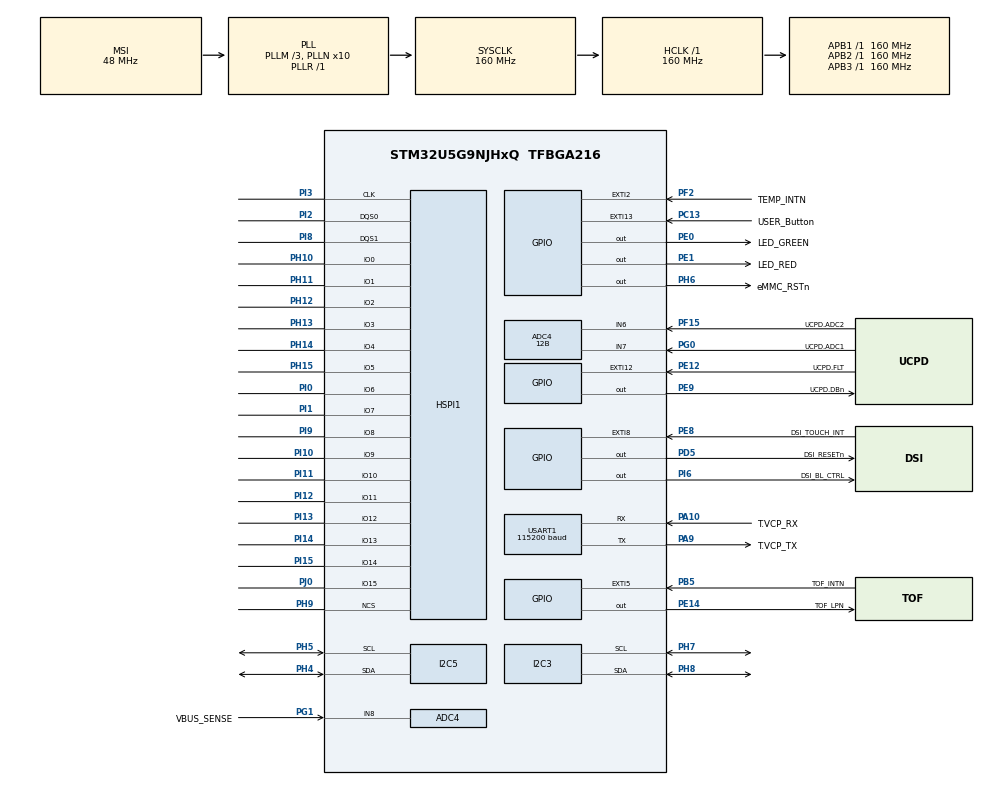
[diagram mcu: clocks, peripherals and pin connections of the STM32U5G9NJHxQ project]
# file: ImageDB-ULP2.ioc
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ADC4.Channel-0\#ChannelRegularConversion=ADC_CHANNEL_6
ADC4.Channel-IN6=ADC_CHANNEL_6
ADC4.Channel-IN7=ADC_CHANNEL_7
ADC4.Channel-IN8=ADC_CHANNEL_8
ADC4.ClockPrescaler=ADC_CLOCK_ASYNC_DIV1
ADC4.ContinuousConvMode=DISABLE
ADC4.DMAContinuousRequests=DISABLE
ADC4.DataAlign=ADC_DATAALIGN_RIGHT
ADC4.DiscontinuousConvMode=DISABLE
ADC4.EOCSelection=ADC_EOC_SINGLE_CONV
ADC4.EnableAnalogWatchDog1=false
ADC4.EnableAnalogWatchDog2=false
ADC4.EnableAnalogWatchDog3=false
ADC4.EnableRegularConversion=ENABLE
ADC4.ExternalTrigConv=ADC_SOFTWARE_START
ADC4.ExternalTrigConvEdge=ADC_EXTERNALTRIGCONVEDGE_NONE
ADC4.LowPowerAutoPowerOff=ADC_LOW_POWER_NONE
ADC4.LowPowerAutoWait=DISABLE
ADC4.Mode=ADC_MODE_INDEPENDENT
ADC4.NbrOfConversion=1
ADC4.OffsetNumber-0\#ChannelRegularConversion=ADC_OFFSET_NONE
ADC4.Overrun=ADC_OVR_DATA_PRESERVED
ADC4.OversamplingMode=DISABLE
ADC4.Rank-0\#ChannelRegularConversion=1
ADC4.Resolution=ADC_RESOLUTION_12B
ADC4.SamplingTime-0\#ChannelRegularConversion=ADC4_SAMPLINGTIME_COMMON_1
ADC4.SamplingTimeCommon1=ADC4_SAMPLETIME_1CYCLE_5
ADC4.SamplingTimeCommon2=ADC4_SAMPLETIME_1CYCLE_5
ADC4.ScanConvMode=ADC4_SCAN_DISABLE
ADC4.SelectedChannel=ADC_CHANNEL_6|ADC_CHANNEL_7|ADC_CHANNEL_8
ADC4.Sequencer=FULLY_CONFIGURABLE
ADC4.TriggerFrequencyMode=ADC_TRIGGER_FREQ_LOW
CORTEX_M33_NS.MPU_Control=__NULL
CORTEX_M33_NS.userName=CORTEX_M33
GPDMA1.DATAHANDLING_GPDMACH1=NONE
GPDMA1.DESTBURSTLENGTH_GPDMACH0=8
GPDMA1.DESTBURSTLENGTH_GPDMACH1=8
GPDMA1.DESTDATAWIDTH_GPDMACH0=DMA_DEST_DATAWIDTH_WORD
GPDMA1.DESTDATAWIDTH_GPDMACH1=DMA_DEST_DATAWIDTH_WORD
GPDMA1.DESTINC_GPDMACH0=DMA_DINC_FIXED
GPDMA1.DESTINC_GPDMACH1=DMA_DINC_INCREMENTED
GPDMA1.DIRECTION_GPDMACH0=DMA_MEMORY_TO_PERIPH
GPDMA1.IPHANDLE_GPDMACH0-SIMPLEREQUEST_GPDMACH0=__NULL
GPDMA1.IPHANDLE_GPDMACH1-SIMPLEREQUEST_GPDMACH1=__NULL
GPDMA1.PRIORITY_GPDMACH0=DMA_LOW_PRIORITY_HIGH_WEIGHT
GPDMA1.PRIORITY_GPDMACH1=DMA_LOW_PRIORITY_HIGH_WEIGHT
GPDMA1.REQUEST_GPDMACH0=GPDMA1_REQUEST_JPEG_RX
GPDMA1.REQUEST_GPDMACH1=GPDMA1_REQUEST_JPEG_TX
GPDMA1.SRCBURSTLENGTH_GPDMACH0=8
GPDMA1.SRCBURSTLENGTH_GPDMACH1=8
GPDMA1.SRCDATAWIDTH_GPDMACH0=DMA_SRC_DATAWIDTH_WORD
GPDMA1.SRCDATAWIDTH_GPDMACH1=DMA_SRC_DATAWIDTH_WORD
GPDMA1.SRCINC_GPDMACH0=DMA_SINC_INCREMENTED
GPDMA1.SRCINC_GPDMACH1=DMA_SINC_FIXED
GPDMA1.TRANSFERALLOCATEDPORTDEST_GPDMACH0=DMA_DEST_ALLOCATED_PORT1
GPDMA1.TRANSFERALLOCATEDPORTDEST_GPDMACH1=DMA_DEST_ALLOCATED_PORT1
GPDMA1.TRANSFERALLOCATEDPORTSRC_GPDMACH1=DMA_SRC_ALLOCATED_PORT0
HSPI1.ChipSelectBoundary=HAL_XSPI_BONDARYOF_NONE
HSPI1.ChipSelectHighTimeCycle=1
HSPI1.ClockMode=HAL_XSPI_CLOCK_MODE_0
HSPI1.ClockPrescaler=0
HSPI1.DelayHoldQuarterCycle=HAL_XSPI_DHQC_DISABLE
HSPI1.FifoThresholdByte=1
HSPI1.FreeRunningClock=HAL_XSPI_FREERUNCLK_DISABLE
HSPI1.MemoryMode=HAL_XSPI_SINGLE_MEM
HSPI1.MemorySize=HAL_XSPI_SIZE_16B
HSPI1.MemoryType=HAL_XSPI_MEMTYPE_MICRON
HSPI1.Refresh=0
HSPI1.SampleShifting=HAL_XSPI_SAMPLE_SHIFT_NONE
HSPI1.WrapSize=HAL_XSPI_WRAP_NOT_SUPPORTED
I2C3.AddressingMode=I2C_ADDRESSINGMODE_7BIT
I2C3.Analog_Filter=I2C_ANALOGFILTER_ENABLE
I2C3.AutonomousMode=AUTONOMOUS_MODE_DISABLE
I2C3.DualAddressMode=I2C_DUALADDRESS_DISABLE
I2C3.GeneralCallMode=I2C_GENERALCALL_DISABLE
I2C3.I2C_Coeff_DF=0
I2C3.I2C_Fall_Time=0
I2C3.I2C_Rise_Time=0
I2C3.NoStretchMode=I2C_NOSTRETCH_DISABLE
I2C3.OwnAddress=0
I2C3.Speed=100
I2C3.Timing=0x30909DEC
I2C5.AddressingMode=I2C_ADDRESSINGMODE_7BIT
I2C5.Analog_Filter=I2C_ANALOGFILTER_ENABLE
I2C5.AutonomousMode=AUTONOMOUS_MODE_DISABLE
I2C5.DualAddressMode=I2C_DUALADDRESS_DISABLE
I2C5.GeneralCallMode=I2C_GENERALCALL_DISABLE
I2C5.I2C_Coeff_DF=0
I2C5.I2C_Fall_Time=0
I2C5.I2C_Rise_Time=0
I2C5.NoStretchMode=I2C_NOSTRETCH_DISABLE
I2C5.OwnAddress=0
I2C5.Speed=100
I2C5.Timing=0x30909DEC
JPEG.USE_JPEG_DECODER=0
Mcu.Family=STM32U5
Mcu.Name=STM32U5G9NJHxQ
Mcu.Package=TFBGA216
NVIC.GPDMA1_Channel0_IRQn=true\:6\:0\:true\:false\:true\:true\:true\:true
NVIC.GPDMA1_Channel1_IRQn=true\:7\:0\:true\:false\:true\:false\:true\:true
NVIC.JPEG_IRQn=true\:8\:0\:true\:false\:true\:true\:true\:true
NVIC.PriorityGroup=NVIC_PRIORITYGROUP_4
NVIC.TIM3_IRQn=true\:0\:0\:false\:false\:true\:true\:true\:true
PA1.Signal=OCTOSPIM_P1_DQS
PA10.GPIO_Label=T.VCP_RX
PA10.Mode=Asynchronous
PA10.Signal=USART1_RX
PA12.Signal=USB_OTG_HS_DP
PA13\ (JTMS/SWDIO).Signal=DEBUG_JTMS-SWDIO
PA14\ (JTCK/SWCLK).Signal=DEBUG_JTCK-SWCLK
PA2.Signal=OCTOSPIM_P1_NCS
PA9.GPIO_Label=T.VCP_TX
PA9.Mode=Asynchronous
PA9.Signal=USART1_TX
PB3\ (JTDO/TRACESWO).Signal=DEBUG_JTDO-SWO
PB5.GPIO_Label=TOF_INTN
PB5.Signal=GPXTI5
PB8.Signal=SDMMC1_D4
PB9.Signal=SDMMC1_D5
PC0.Signal=OCTOSPIM_P1_IO7
PC1.Signal=OCTOSPIM_P1_IO4
PC10.Signal=SDMMC1_D2
PC11.Signal=SDMMC1_D3
PC12.Signal=SDMMC1_CK
PC13.GPIO_Label=USER_Button
PC13.Signal=GPXTI13
PC14-OSC32_IN\ (PC14).Mode=LSE-External-Oscillator
PC14-OSC32_IN\ (PC14).Signal=RCC_OSC32_IN
PC15-OSC32_OUT\ (PC15).Mode=LSE-External-Oscillator
PC15-OSC32_OUT\ (PC15).Signal=RCC_OSC32_OUT
PC2.Signal=OCTOSPIM_P1_IO5
PC3.Signal=OCTOSPIM_P1_IO6
PC6.Signal=SDMMC1_D6
PC7.Signal=SDMMC1_D7
PC8.Signal=SDMMC1_D0
PC9.Signal=SDMMC1_D1
PD2.Signal=SDMMC1_CMD
PD5.GPIO_Label=DSI_RESETn
PD5.Signal=GPIO_Output
PE0.GPIO_Label=LED_GREEN
PE0.Signal=GPIO_Output
PE1.GPIO_Label=LED_RED
PE1.Signal=GPIO_Output
PE12.GPIO_Label=UCPD.FLT
PE12.Signal=GPXTI12
PE14.GPIO_Label=TOF_LPN
PE14.Signal=GPIO_Output
PE8.GPIO_Label=DSI_TOUCH_INT
PE8.Signal=GPXTI8
PE9.GPIO_Label=UCPD.DBn
PE9.Signal=GPIO_Output
PF10.Signal=OCTOSPIM_P1_CLK
PF15.GPIO_Label=UCPD.ADC2
PF15.Mode=IN6
PF15.Signal=ADC4_IN6
PF2.GPIO_Label=TEMP_INTN
PF2.Signal=GPXTI2
PF6.Signal=OCTOSPIM_P1_IO3
PF7.Signal=OCTOSPIM_P1_IO2
PF8.Signal=OCTOSPIM_P1_IO0
PF9.Signal=OCTOSPIM_P1_IO1
PG0.GPIO_Label=UCPD.ADC1
PG0.Mode=IN7
PG0.Signal=ADC4_IN7
PG1.GPIO_Label=VBUS_SENSE
PG1.Mode=IN8
PG1.Signal=ADC4_IN8
PH0-OSC_IN\ (PH0).Mode=HSE-External-Oscillator
PH0-OSC_IN\ (PH0).Signal=RCC_OSC_IN
PH1-OSC_OUT\ (PH1).Mode=HSE-External-Oscillator
PH1-OSC_OUT\ (PH1).Signal=RCC_OSC_OUT
PH10.Mode=hexa_mode
PH10.Signal=HSPI1_IO0
PH11.Mode=hexa_mode
PH11.Signal=HSPI1_IO1
PH12.Mode=hexa_mode
PH12.Signal=HSPI1_IO2
PH13.Mode=hexa_mode
PH13.Signal=HSPI1_IO3
PH14.Mode=hexa_mode
PH14.Signal=HSPI1_IO4
PH15.Mode=hexa_mode
PH15.Signal=HSPI1_IO5
PH4.Mode=I2C
PH4.Signal=I2C5_SDA
PH5.Mode=I2C
PH5.Signal=I2C5_SCL
PH6.GPIO_Label=eMMC_RSTn
PH6.Signal=GPIO_Output
PH7.Mode=I2C
PH7.Signal=I2C3_SCL
PH8.Mode=I2C
PH8.Signal=I2C3_SDA
PH9.Mode=hexa_mode
PH9.Signal=HSPI1_NCS
PI0.Mode=hexa_mode
PI0.Signal=HSPI1_IO6
PI1.Mode=hexa_mode
PI1.Signal=HSPI1_IO7
PI10.Mode=hexa_mode
PI10.Signal=HSPI1_IO9
PI11.Mode=hexa_mode
PI11.Signal=HSPI1_IO10
PI12.Mode=hexa_mode
PI12.Signal=HSPI1_IO11
PI13.Mode=hexa_mode
PI13.Signal=HSPI1_IO12
PI14.Mode=hexa_mode
PI14.Signal=HSPI1_IO13
PI15.Mode=hexa_mode
PI15.Signal=HSPI1_IO14
PI2.Mode=hexa_mode
PI2.Signal=HSPI1_DQS0
PI3.Mode=hexa_mode
PI3.Signal=HSPI1_CLK
PI6.GPIO_Label=DSI_BL_CTRL
PI6.Signal=GPIO_Output
PI8.Mode=hexa_mode
PI8.Signal=HSPI1_DQS1
PI9.Mode=hexa_mode
PI9.Signal=HSPI1_IO8
PJ0.Mode=hexa_mode
PJ0.Signal=HSPI1_IO15
PWR.DMA2DPowerDownInStopMode=__NULL
PWR.DSIRAMPowerDownInStopMode=__NULL
PWR.Dcache1PowerDownInStopMode=__NULL
PWR.Dcache2PowerDownInStopMode=__NULL
PWR.GRAPHICPRAMPowerDownInStopMode=__NULL
PWR.IcachePowerDownInStopMode=__NULL
PWR.PeriphPowerDownInStopMode=__NULL
PWR.PowerMode=PWR_SMPS_SUPPLY
PWR.RAM1Page10PowerDownInStopMode=__NULL
PWR.RAM1Page11PowerDownInStopMode=__NULL
PWR.RAM1Page12PowerDownInStopMode=__NULL
PWR.RAM1Page1PowerDownInStopMode=__NULL
PWR.RAM1Page2PowerDownInStopMode=__NULL
PWR.RAM1Page3PowerDownInStopMode=__NULL
PWR.RAM1Page4PowerDownInStopMode=__NULL
PWR.RAM1Page5PowerDownInStopMode=__NULL
PWR.RAM1Page6PowerDownInStopMode=__NULL
PWR.RAM1Page7PowerDownInStopMode=__NULL
PWR.RAM1Page8PowerDownInStopMode=__NULL
PWR.RAM1Page9PowerDownInStopMode=__NULL
PWR.RAM2Page1PowerDownInStopMode=__NULL
PWR.RAM2Page2PowerDownInStopMode=__NULL
PWR.RAM3Page10PowerDownInStopMode=__NULL
PWR.RAM3Page11PowerDownInStopMode=__NULL
PWR.RAM3Page12PowerDownInStopMode=__NULL
PWR.RAM3Page13PowerDownInStopMode=__NULL
PWR.RAM3Page1PowerDownInStopMode=__NULL
PWR.RAM3Page2PowerDownInStopMode=__NULL
PWR.RAM3Page3PowerDownInStopMode=__NULL
PWR.RAM3Page4PowerDownInStopMode=__NULL
PWR.RAM3Page5PowerDownInStopMode=__NULL
PWR.RAM3Page6PowerDownInStopMode=__NULL
PWR.RAM3Page7PowerDownInStopMode=__NULL
PWR.RAM3Page8PowerDownInStopMode=__NULL
PWR.RAM3Page9PowerDownInStopMode=__NULL
PWR.RAM5Page10PowerDownInStopMode=__NULL
PWR.RAM5Page11PowerDownInStopMode=__NULL
PWR.RAM5Page12PowerDownInStopMode=__NULL
PWR.RAM5Page13PowerDownInStopMode=__NULL
PWR.RAM5Page1PowerDownInStopMode=__NULL
PWR.RAM5Page2PowerDownInStopMode=__NULL
PWR.RAM5Page3PowerDownInStopMode=__NULL
PWR.RAM5Page4PowerDownInStopMode=__NULL
PWR.RAM5Page5PowerDownInStopMode=__NULL
PWR.RAM5Page6PowerDownInStopMode=__NULL
PWR.RAM5Page7PowerDownInStopMode=__NULL
PWR.RAM5Page8PowerDownInStopMode=__NULL
PWR.RAM5Page9PowerDownInStopMode=__NULL
PWR.SRAM1PowerDownInRunMode=__NULL
PWR.SRAM2PowerDownInRunMode=__NULL
PWR.SRAM3PowerDownInRunMode=__NULL
PWR.SRAM4FastDownInRunMode=__NULL
PWR.SRAM4PowerDownInRunMode=__NULL
PWR.SRAM4PowerDownInStopMode=__NULL
PWR.SRAM5PowerDownInRunMode=__NULL
PWR.pwrPrivilege=PWR_PRIVILEGE_NO
ProjectManager.HeapSize=0x200
ProjectManager.StackSize=0x400
ProjectManager.TargetToolchain=STM32CubeIDE
RAMCFG.Instance-RAMCFG1_Activate=RAMCFG_SRAM1
RCC.ADCFreq_Value=16000000
RCC.AHBFreq_Value=160000000
RCC.APB1Freq_Value=160000000
RCC.APB1TimFreq_Value=160000000
RCC.APB2Freq_Value=160000000
RCC.APB2TimFreq_Value=160000000
RCC.APB3Freq_Value=160000000
RCC.CortexFreq_Value=160000000
RCC.EPOD_VALUE=48000000
RCC.HCLKFreq_Value=160000000
RCC.HSE_VALUE=16000000
RCC.HSI48_VALUE=48000000
RCC.HSI_VALUE=16000000
RCC.LSIDIV_VALUE=32000
RCC.MSIClockRange=RCC_MSIRANGE_0
RCC.MSI_VALUE=48000000
RCC.PLL1P=8
RCC.PLL1R=1
RCC.PLL2FRACN=0
RCC.PLL3FRACN=0
RCC.PLLFRACN=24576
RCC.PLLM=3
RCC.PLLN=7
RCC.PWR_Regulator_Voltage_Scale=PWR_REGULATOR_VOLTAGE_SCALE1
RCC.SYSCLKFreq_VALUE=160000000
RCC.SYSCLKSource=RCC_SYSCLKSOURCE_PLLCLK
RCC.VCOOutputFreq_Value=160000000
TIM2.Prescaler=499
TIM3.PeriodNoDither=50000
TIM3.Prescaler=8000
TIM4.Prescaler=1
USART1.AutoBaudRateEnableParam=UART_ADVFEATURE_AUTOBAUDRATE_DISABLE
USART1.AutonomousMode=AUTONOMOUS_MODE_DISABLE
USART1.BaudRate=115200
USART1.ClockPrescaler=PRESCALER_DIV1
USART1.DMADisableonRxErrorParam=ADVFEATURE_DMA_ENABLEONRXERROR
USART1.DataInvertParam=ADVFEATURE_DATAINV_DISABLE
USART1.FIFOMode=FIFOMODE_DISABLE
USART1.MSBFirstParam=ADVFEATURE_MSBFIRST_DISABLE
USART1.Mode=MODE_TX_RX
USART1.OneBitSampling=UART_ONE_BIT_SAMPLE_DISABLE
USART1.OverSampling=UART_OVERSAMPLING_16
USART1.OverrunDisableParam=ADVFEATURE_OVERRUN_ENABLE
USART1.Parity=PARITY_NONE
USART1.RXFIFOThreshold=RXFIFO_THRESHOLD_1EIGHTHFULL
USART1.RxPinLevelInvertParam=ADVFEATURE_RXINV_DISABLE
USART1.StopBits=STOPBITS_1
USART1.SwapParam=ADVFEATURE_SWAP_DISABLE
USART1.TXFIFOThreshold=TXFIFO_THRESHOLD_1EIGHTHFULL
USART1.TxPinLevelInvertParam=ADVFEATURE_TXINV_DISABLE
USART1.VirtualMode-Asynchronous=VM_ASYNC
USART1.WordLength=WORDLENGTH_8B
VP_DMA2D_VS_DMA2D.Mode=DMA2D_Activate
VP_GPDMA1_VS_GPDMACH0.Mode=SIMPLEREQUEST_GPDMACH0
VP_GPDMA1_VS_GPDMACH1.Mode=SIMPLEREQUEST_GPDMACH1
VP_ICACHE_VS_ICACHE.Mode=DirectMappedCache
VP_JPEG_VS_JPEG.Mode=JPEG_Activate
VP_LPBAMQUEUE_VS_QUEUE.Mode=QUEUEMODE
VP_LPBAM_VS_SIG1.Mode=SmartRun
VP_LPBAM_VS_SIG4.Mode=LPDMA1
VP_MEMORYMAP_VS_MEMORYMAP.Mode=CurAppReg
VP_PWR_VS_DBSignals.Mode=DisableDeadBatterySignals
VP_PWR_VS_LPOM.Mode=PowerOptimisation
VP_PWR_VS_SECSignals.Mode=Security/Privilege
VP_PWR_Vdda.Mode=isolationVdda
VP_RAMCFG_VS_RAMCFG1.Mode=RAMCFG1_Activate
VP_TIM2_VS_ClockSourceINT.Mode=Internal
VP_TIM3_VS_ClockSourceINT.Mode=Internal
VP_TIM4_VS_ClockSourceINT.Mode=Internal
board=STM32U5G9J-DK1

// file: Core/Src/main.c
/* USER CODE BEGIN Header */
/**
  ******************************************************************************
  * @file           : main.c
  * @brief          : Main program body
  ******************************************************************************
  * @attention
  *
  * Copyright (c) 2024 STMicroelectronics.
  * All rights reserved.
  *
  * This software is licensed under terms that can be found in the LICENSE file
  * in the root directory of this software component.
  * If no LICENSE file comes with this software, it is provided AS-IS.
  *
  ******************************************************************************
  */
/* USER CODE END Header */
#include "main.h"
#include "jpeg_utils_conf.h"

/* USER CODE BEGIN Includes */
#include <stdio.h>
#include <stm32u5xx_hal.h>
#include "vpp_image_generator.h"
#include "image_output.h"
#include "uart.h"
#include "xmodem.h"
#include "benchmark_accelerators.h"
#include "benchmark_from_uart.h"
#include <stdbool.h>
#include <stdlib.h>
/* USER CODE END Includes */

ADC_HandleTypeDef hadc4;

DMA2D_HandleTypeDef hdma2d;

XSPI_HandleTypeDef hxspi1;

I2C_HandleTypeDef hi2c3;
I2C_HandleTypeDef hi2c5;

JPEG_HandleTypeDef hjpeg;
DMA_HandleTypeDef handle_GPDMA1_Channel1;
DMA_HandleTypeDef handle_GPDMA1_Channel0;

RAMCFG_HandleTypeDef hramcfg_SRAM1;

TIM_HandleTypeDef htim2;
TIM_HandleTypeDef htim3;
TIM_HandleTypeDef htim4;

UART_HandleTypeDef huart1;

void SystemClock_Config(void);
static void SystemPower_Config(void);
static void MX_GPIO_Init(void);
static void MX_GPDMA1_Init(void);
static void MX_HSPI1_Init(void);
static void MX_I2C3_Init(void);
static void MX_I2C5_Init(void);
static void MX_ICACHE_Init(void);
static void MX_USART1_UART_Init(void);
static void MX_MEMORYMAP_Init(void);
static void MX_JPEG_Init(void);
static void MX_RAMCFG_Init(void);
static void MX_DMA2D_Init(void);
static void MX_ADC4_Init(void);
static void MX_TIM2_Init(void);
static void MX_TIM3_Init(void);
static void MX_TIM4_Init(void);

/* USER CODE BEGIN 0 */
int __io_putchar(int ch)
{
  /* Place your implementation of fputc here */
  /* e.g. write a character to the USART1 and Loop until the end of transmission */
  HAL_UART_Transmit(&huart1, (uint8_t *)&ch, 1, 0xFFFF);

  return ch;
}

int _write(int file, char *ptr, int len)
{
	int DataIdx;
	UNUSED(file);
	for (DataIdx = 0; DataIdx < len; DataIdx++)
	{
		__io_putchar(*ptr++);
	}
	return len;
}
/* USER CODE END 0 */

int main(void)
{

  /* MCU Configuration--------------------------------------------------------*/

  /* Reset of all peripherals, Initializes the Flash interface and the Systick. */
  HAL_Init();

  /* Configure the system clock */
  SystemClock_Config();

  /* Configure the System Power */
  SystemPower_Config();

  /* Initialize all configured peripherals */
  MX_GPIO_Init();
  MX_GPDMA1_Init();
  MX_HSPI1_Init();
  MX_I2C3_Init();
  MX_I2C5_Init();
  MX_ICACHE_Init();
  MX_USART1_UART_Init();
  MX_MEMORYMAP_Init();
  MX_JPEG_Init();
  MX_RAMCFG_Init();
  MX_DMA2D_Init();
  MX_ADC4_Init();
  MX_TIM2_Init();
  MX_TIM3_Init();
  MX_TIM4_Init();
  /* USER CODE BEGIN 2 */
  if (HAL_TIM_Base_Start_IT(&htim2) != HAL_OK)
  {
	  /* Starting Error */
	  printf("Error starting interrupt timer 2\n");
  }
  if (HAL_TIM_Base_Start_IT(&htim4) != HAL_OK)
    {
  	  /* Starting Error */
  	  printf("Error starting interrupt timer 2\n");
    }
  /* USER CODE END 2 */

  /* Infinite loop */
  /* USER CODE BEGIN WHILE */
  printf("Hello world\n");
  //	  uint8_t * image = generate_vpp_image(64, 64, 1, 0);
  //	  print_image_pixels_alpha(image, 64, 64);
  //printf("Test with printf\n");
  //uart_transmit_str((uint8_t*)"Send more image data.\n");

//  uint32_t heights[]={16,32,64,128,256};
//  uint32_t widths[]={64,64,64,64,64};

  while (1)
  {
//	  for(uint32_t i = 0; i < sizeof(heights) / sizeof(uint32_t); i++){
	  		//zeroBuffers(buffers);
	  		//benchmark_blended_quality_jpeg_size(widths[i], heights[i],1);
	  		//benchmark_jpeg_encode_accelerator_MDMA(5, 1000, heights[i], widths[i], 90);
	  		//benchmark_jpeg_encode_accelerator_CPU(5, 1000, heights[i], widths[i], 90);
	  		//benchmark_jpeg_decode_accelerator_MDMA(5, 1000, heights[i], widths[i], 90);
	  		//benchmark_blended_quality_jpeg_size();
//	  	}
	  BenchmarkSettings *settings = (BenchmarkSettings *)malloc(sizeof(BenchmarkSettings));
	  uint32_t quality[] = {5,10,25,50,75,80,90,95,100}; settings->quality = quality; settings->numQuality = sizeof(quality) / sizeof(uint32_t);
	  uint32_t imageHeight[] = {16,32,64,128,256}; settings->imageHeight = imageHeight;
	  uint32_t imageWidth[] = {64,64,64,64,64}; settings->imageWidth = imageWidth; settings->numSizes = sizeof(imageHeight) / sizeof(uint32_t);
	  //Making it ≈10MB
	  uint32_t numRepeatImage[] = {240,120, 60, 30, 15}; settings->numRepeatImage = numRepeatImage;
	  uint32_t numRepeatImageQuantization[] = {5,5,2,2,2}; settings->numRepeatImageQuantization = numRepeatImageQuantization;
	  uint32_t batchSize[] = {1024,2048,4096, 8192, 16384}; //settings->batchSize = batchSize;
	  uint32_t numIterations = 5; settings->numIterations = numIterations;
	  uint32_t amountVectors[]={2,4,8,16,32,64}; settings->amountVectors = amountVectors; settings->numAmountVectors = sizeof(amountVectors)/sizeof(uint32_t);
	  uint32_t minRGBVectorSize[]={0,5,10,20,40,80,160}; settings->minRGBVectorSize = minRGBVectorSize; settings->numMinRGBSizes = sizeof(minRGBVectorSize) / sizeof(uint32_t);
	  double outliers[]={0, 0.05, 0.1, 0.2}; settings->outliers = outliers;
	  bool timeQuantization = false; settings->timedQuantization = timeQuantization;

	  benchmark_from_uart(settings);
	  free(settings);
	  //benchmark_performance_JPEG_encode_CPU(imageHeight, imageWidth, numRepeatImage, sizeof(imageHeight) / sizeof(uint32_t), quality, sizeof(quality) / sizeof(uint32_t), numIterations, timeQuantization);
	  HAL_Delay(10000);
    /* USER CODE END WHILE */

  }
}

void SystemClock_Config(void)
{
  RCC_OscInitTypeDef RCC_OscInitStruct = {0};
  RCC_ClkInitTypeDef RCC_ClkInitStruct = {0};

  /** Configure the main internal regulator output voltage
  */
  if (HAL_PWREx_ControlVoltageScaling(PWR_REGULATOR_VOLTAGE_SCALE1) != HAL_OK)
  {
    Error_Handler();
  }

  /** Initializes the CPU, AHB and APB buses clocks
  */
  RCC_OscInitStruct.OscillatorType = RCC_OSCILLATORTYPE_HSI|RCC_OSCILLATORTYPE_MSI;
  RCC_OscInitStruct.HSIState = RCC_HSI_ON;
  RCC_OscInitStruct.HSICalibrationValue = RCC_HSICALIBRATION_DEFAULT;
  RCC_OscInitStruct.MSIState = RCC_MSI_ON;
  RCC_OscInitStruct.MSICalibrationValue = RCC_MSICALIBRATION_DEFAULT;
  RCC_OscInitStruct.MSIClockRange = RCC_MSIRANGE_0;
  RCC_OscInitStruct.PLL.PLLState = RCC_PLL_ON;
  RCC_OscInitStruct.PLL.PLLSource = RCC_PLLSOURCE_MSI;
  RCC_OscInitStruct.PLL.PLLMBOOST = RCC_PLLMBOOST_DIV4;
  RCC_OscInitStruct.PLL.PLLM = 3;
  RCC_OscInitStruct.PLL.PLLN = 7;
  RCC_OscInitStruct.PLL.PLLP = 8;
  RCC_OscInitStruct.PLL.PLLQ = 2;
  RCC_OscInitStruct.PLL.PLLR = 1;
  RCC_OscInitStruct.PLL.PLLRGE = RCC_PLLVCIRANGE_1;
  RCC_OscInitStruct.PLL.PLLFRACN = 24576;
  if (HAL_RCC_OscConfig(&RCC_OscInitStruct) != HAL_OK)
  {
    Error_Handler();
  }

  /** Initializes the CPU, AHB and APB buses clocks
  */
  RCC_ClkInitStruct.ClockType = RCC_CLOCKTYPE_HCLK|RCC_CLOCKTYPE_SYSCLK
                              |RCC_CLOCKTYPE_PCLK1|RCC_CLOCKTYPE_PCLK2
                              |RCC_CLOCKTYPE_PCLK3;
  RCC_ClkInitStruct.SYSCLKSource = RCC_SYSCLKSOURCE_PLLCLK;
  RCC_ClkInitStruct.AHBCLKDivider = RCC_SYSCLK_DIV1;
  RCC_ClkInitStruct.APB1CLKDivider = RCC_HCLK_DIV1;
  RCC_ClkInitStruct.APB2CLKDivider = RCC_HCLK_DIV1;
  RCC_ClkInitStruct.APB3CLKDivider = RCC_HCLK_DIV1;

  if (HAL_RCC_ClockConfig(&RCC_ClkInitStruct, FLASH_LATENCY_4) != HAL_OK)
  {
    Error_Handler();
  }
}

/**
  * @brief Power Configuration
  * @retval None
  */
static void SystemPower_Config(void)
{

  /*
   * Disable the internal Pull-Up in Dead Battery pins of UCPD peripheral
   */
  HAL_PWREx_DisableUCPDDeadBattery();

  /*
   * Switch to SMPS regulator instead of LDO
   */
  if (HAL_PWREx_ConfigSupply(PWR_SMPS_SUPPLY) != HAL_OK)
  {
    Error_Handler();
  }
}

static void MX_ADC4_Init(void)
{

  ADC_ChannelConfTypeDef sConfig = {0};

  /** Common config
  */
  hadc4.Instance = ADC4;
  hadc4.Init.ClockPrescaler = ADC_CLOCK_ASYNC_DIV1;
  hadc4.Init.Resolution = ADC_RESOLUTION_12B;
  hadc4.Init.DataAlign = ADC_DATAALIGN_RIGHT;
  hadc4.Init.ScanConvMode = ADC4_SCAN_DISABLE;
  hadc4.Init.EOCSelection = ADC_EOC_SINGLE_CONV;
  hadc4.Init.LowPowerAutoPowerOff = ADC_LOW_POWER_NONE;
  hadc4.Init.LowPowerAutoWait = DISABLE;
  hadc4.Init.ContinuousConvMode = DISABLE;
  hadc4.Init.NbrOfConversion = 1;
  hadc4.Init.DiscontinuousConvMode = DISABLE;
  hadc4.Init.ExternalTrigConv = ADC_SOFTWARE_START;
  hadc4.Init.ExternalTrigConvEdge = ADC_EXTERNALTRIGCONVEDGE_NONE;
  hadc4.Init.DMAContinuousRequests = DISABLE;
  hadc4.Init.TriggerFrequencyMode = ADC_TRIGGER_FREQ_LOW;
  hadc4.Init.Overrun = ADC_OVR_DATA_PRESERVED;
  hadc4.Init.SamplingTimeCommon1 = ADC4_SAMPLETIME_1CYCLE_5;
  hadc4.Init.SamplingTimeCommon2 = ADC4_SAMPLETIME_1CYCLE_5;
  hadc4.Init.OversamplingMode = DISABLE;
  if (HAL_ADC_Init(&hadc4) != HAL_OK)
  {
    Error_Handler();
  }

  /** Configure Regular Channel
  */
  sConfig.Channel = ADC_CHANNEL_6;
  sConfig.Rank = ADC_REGULAR_RANK_1;
  sConfig.SamplingTime = ADC4_SAMPLINGTIME_COMMON_1;
  sConfig.OffsetNumber = ADC_OFFSET_NONE;
  sConfig.Offset = 0;
  if (HAL_ADC_ConfigChannel(&hadc4, &sConfig) != HAL_OK)
  {
    Error_Handler();
  }

}

static void MX_DMA2D_Init(void)
{

  hdma2d.Instance = DMA2D;
  hdma2d.Init.Mode = DMA2D_M2M;
  hdma2d.Init.ColorMode = DMA2D_OUTPUT_ARGB8888;
  hdma2d.Init.OutputOffset = 0;
  hdma2d.Init.BytesSwap = DMA2D_BYTES_REGULAR;
  hdma2d.Init.LineOffsetMode = DMA2D_LOM_PIXELS;
  hdma2d.LayerCfg[1].InputOffset = 0;
  hdma2d.LayerCfg[1].InputColorMode = DMA2D_INPUT_ARGB8888;
  hdma2d.LayerCfg[1].AlphaMode = DMA2D_NO_MODIF_ALPHA;
  hdma2d.LayerCfg[1].InputAlpha = 0;
  hdma2d.LayerCfg[1].AlphaInverted = DMA2D_REGULAR_ALPHA;
  hdma2d.LayerCfg[1].RedBlueSwap = DMA2D_RB_REGULAR;
  if (HAL_DMA2D_Init(&hdma2d) != HAL_OK)
  {
    Error_Handler();
  }
  if (HAL_DMA2D_ConfigLayer(&hdma2d, 1) != HAL_OK)
  {
    Error_Handler();
  }

}

static void MX_GPDMA1_Init(void)
{

  /* Peripheral clock enable */
  __HAL_RCC_GPDMA1_CLK_ENABLE();

  /* GPDMA1 interrupt Init */
    HAL_NVIC_SetPriority(GPDMA1_Channel0_IRQn, 6, 0);
    HAL_NVIC_EnableIRQ(GPDMA1_Channel0_IRQn);
    HAL_NVIC_SetPriority(GPDMA1_Channel1_IRQn, 7, 0);
    HAL_NVIC_EnableIRQ(GPDMA1_Channel1_IRQn);

}

static void MX_HSPI1_Init(void)
{

  /* HSPI1 parameter configuration*/
  hxspi1.Instance = HSPI1;
  hxspi1.Init.FifoThresholdByte = 1;
  hxspi1.Init.MemoryMode = HAL_XSPI_SINGLE_MEM;
  hxspi1.Init.MemoryType = HAL_XSPI_MEMTYPE_MICRON;
  hxspi1.Init.MemorySize = HAL_XSPI_SIZE_16B;
  hxspi1.Init.ChipSelectHighTimeCycle = 1;
  hxspi1.Init.FreeRunningClock = HAL_XSPI_FREERUNCLK_DISABLE;
  hxspi1.Init.ClockMode = HAL_XSPI_CLOCK_MODE_0;
  hxspi1.Init.WrapSize = HAL_XSPI_WRAP_NOT_SUPPORTED;
  hxspi1.Init.ClockPrescaler = 0;
  hxspi1.Init.SampleShifting = HAL_XSPI_SAMPLE_SHIFT_NONE;
  hxspi1.Init.DelayHoldQuarterCycle = HAL_XSPI_DHQC_DISABLE;
  hxspi1.Init.ChipSelectBoundary = HAL_XSPI_BONDARYOF_NONE;
  hxspi1.Init.MaxTran = 0;
  hxspi1.Init.Refresh = 0;
  if (HAL_XSPI_Init(&hxspi1) != HAL_OK)
  {
    Error_Handler();
  }

}

static void MX_I2C3_Init(void)
{

  hi2c3.Instance = I2C3;
  hi2c3.Init.Timing = 0x30909DEC;
  hi2c3.Init.OwnAddress1 = 0;
  hi2c3.Init.AddressingMode = I2C_ADDRESSINGMODE_7BIT;
  hi2c3.Init.DualAddressMode = I2C_DUALADDRESS_DISABLE;
  hi2c3.Init.OwnAddress2 = 0;
  hi2c3.Init.OwnAddress2Masks = I2C_OA2_NOMASK;
  hi2c3.Init.GeneralCallMode = I2C_GENERALCALL_DISABLE;
  hi2c3.Init.NoStretchMode = I2C_NOSTRETCH_DISABLE;
  if (HAL_I2C_Init(&hi2c3) != HAL_OK)
  {
    Error_Handler();
  }

  /** Configure Analogue filter
  */
  if (HAL_I2CEx_ConfigAnalogFilter(&hi2c3, I2C_ANALOGFILTER_ENABLE) != HAL_OK)
  {
    Error_Handler();
  }

  /** Configure Digital filter
  */
  if (HAL_I2CEx_ConfigDigitalFilter(&hi2c3, 0) != HAL_OK)
  {
    Error_Handler();
  }

}

static void MX_I2C5_Init(void)
{

  hi2c5.Instance = I2C5;
  hi2c5.Init.Timing = 0x30909DEC;
  hi2c5.Init.OwnAddress1 = 0;
  hi2c5.Init.AddressingMode = I2C_ADDRESSINGMODE_7BIT;
  hi2c5.Init.DualAddressMode = I2C_DUALADDRESS_DISABLE;
  hi2c5.Init.OwnAddress2 = 0;
  hi2c5.Init.OwnAddress2Masks = I2C_OA2_NOMASK;
  hi2c5.Init.GeneralCallMode = I2C_GENERALCALL_DISABLE;
  hi2c5.Init.NoStretchMode = I2C_NOSTRETCH_DISABLE;
  if (HAL_I2C_Init(&hi2c5) != HAL_OK)
  {
    Error_Handler();
  }

  /** Configure Analogue filter
  */
  if (HAL_I2CEx_ConfigAnalogFilter(&hi2c5, I2C_ANALOGFILTER_ENABLE) != HAL_OK)
  {
    Error_Handler();
  }

  /** Configure Digital filter
  */
  if (HAL_I2CEx_ConfigDigitalFilter(&hi2c5, 0) != HAL_OK)
  {
    Error_Handler();
  }

}

static void MX_ICACHE_Init(void)
{

  /** Enable instruction cache in 1-way (direct mapped cache)
  */
  if (HAL_ICACHE_ConfigAssociativityMode(ICACHE_1WAY) != HAL_OK)
  {
    Error_Handler();
  }
  if (HAL_ICACHE_Enable() != HAL_OK)
  {
    Error_Handler();
  }

}

static void MX_JPEG_Init(void)
{

  hjpeg.Instance = JPEG;
  if (HAL_JPEG_Init(&hjpeg) != HAL_OK)
  {
    Error_Handler();
  }

}

static void MX_MEMORYMAP_Init(void)
{

}

static void MX_RAMCFG_Init(void)
{

  /** Initialize RAMCFG SRAM1
  */
  hramcfg_SRAM1.Instance = RAMCFG_SRAM1;
  if (HAL_RAMCFG_Init(&hramcfg_SRAM1) != HAL_OK)
  {
    Error_Handler();
  }

}

static void MX_TIM2_Init(void)
{

  TIM_ClockConfigTypeDef sClockSourceConfig = {0};
  TIM_MasterConfigTypeDef sMasterConfig = {0};

  htim2.Instance = TIM2;
  htim2.Init.Prescaler = 499;
  htim2.Init.CounterMode = TIM_COUNTERMODE_UP;
  htim2.Init.Period = 4.294967295E9;
  htim2.Init.ClockDivision = TIM_CLOCKDIVISION_DIV1;
  htim2.Init.AutoReloadPreload = TIM_AUTORELOAD_PRELOAD_DISABLE;
  if (HAL_TIM_Base_Init(&htim2) != HAL_OK)
  {
    Error_Handler();
  }
  sClockSourceConfig.ClockSource = TIM_CLOCKSOURCE_INTERNAL;
  if (HAL_TIM_ConfigClockSource(&htim2, &sClockSourceConfig) != HAL_OK)
  {
    Error_Handler();
  }
  sMasterConfig.MasterOutputTrigger = TIM_TRGO_RESET;
  sMasterConfig.MasterSlaveMode = TIM_MASTERSLAVEMODE_DISABLE;
  if (HAL_TIMEx_MasterConfigSynchronization(&htim2, &sMasterConfig) != HAL_OK)
  {
    Error_Handler();
  }

}

static void MX_TIM3_Init(void)
{

  TIM_ClockConfigTypeDef sClockSourceConfig = {0};
  TIM_MasterConfigTypeDef sMasterConfig = {0};

  htim3.Instance = TIM3;
  htim3.Init.Prescaler = 8000;
  htim3.Init.CounterMode = TIM_COUNTERMODE_UP;
  htim3.Init.Period = 50000;
  htim3.Init.ClockDivision = TIM_CLOCKDIVISION_DIV1;
  htim3.Init.AutoReloadPreload = TIM_AUTORELOAD_PRELOAD_DISABLE;
  if (HAL_TIM_Base_Init(&htim3) != HAL_OK)
  {
    Error_Handler();
  }
  sClockSourceConfig.ClockSource = TIM_CLOCKSOURCE_INTERNAL;
  if (HAL_TIM_ConfigClockSource(&htim3, &sClockSourceConfig) != HAL_OK)
  {
    Error_Handler();
  }
  sMasterConfig.MasterOutputTrigger = TIM_TRGO_RESET;
  sMasterConfig.MasterSlaveMode = TIM_MASTERSLAVEMODE_DISABLE;
  if (HAL_TIMEx_MasterConfigSynchronization(&htim3, &sMasterConfig) != HAL_OK)
  {
    Error_Handler();
  }

}

static void MX_TIM4_Init(void)
{

  TIM_ClockConfigTypeDef sClockSourceConfig = {0};
  TIM_MasterConfigTypeDef sMasterConfig = {0};

  htim4.Instance = TIM4;
  htim4.Init.Prescaler = 1;
  htim4.Init.CounterMode = TIM_COUNTERMODE_UP;
  htim4.Init.Period = 4.294967295E9;
  htim4.Init.ClockDivision = TIM_CLOCKDIVISION_DIV1;
  htim4.Init.AutoReloadPreload = TIM_AUTORELOAD_PRELOAD_DISABLE;
  if (HAL_TIM_Base_Init(&htim4) != HAL_OK)
  {
    Error_Handler();
  }
  sClockSourceConfig.ClockSource = TIM_CLOCKSOURCE_INTERNAL;
  if (HAL_TIM_ConfigClockSource(&htim4, &sClockSourceConfig) != HAL_OK)
  {
    Error_Handler();
  }
  sMasterConfig.MasterOutputTrigger = TIM_TRGO_RESET;
  sMasterConfig.MasterSlaveMode = TIM_MASTERSLAVEMODE_DISABLE;
  if (HAL_TIMEx_MasterConfigSynchronization(&htim4, &sMasterConfig) != HAL_OK)
  {
    Error_Handler();
  }

}

static void MX_USART1_UART_Init(void)
{

  huart1.Instance = USART1;
  huart1.Init.BaudRate = 115200;
  huart1.Init.WordLength = UART_WORDLENGTH_8B;
  huart1.Init.StopBits = UART_STOPBITS_1;
  huart1.Init.Parity = UART_PARITY_NONE;
  huart1.Init.Mode = UART_MODE_TX_RX;
  huart1.Init.HwFlowCtl = UART_HWCONTROL_NONE;
  huart1.Init.OverSampling = UART_OVERSAMPLING_16;
  huart1.Init.OneBitSampling = UART_ONE_BIT_SAMPLE_DISABLE;
  huart1.Init.ClockPrescaler = UART_PRESCALER_DIV1;
  huart1.AdvancedInit.AdvFeatureInit = UART_ADVFEATURE_NO_INIT;
  if (HAL_UART_Init(&huart1) != HAL_OK)
  {
    Error_Handler();
  }
  if (HAL_UARTEx_SetTxFifoThreshold(&huart1, UART_TXFIFO_THRESHOLD_1_8) != HAL_OK)
  {
    Error_Handler();
  }
  if (HAL_UARTEx_SetRxFifoThreshold(&huart1, UART_RXFIFO_THRESHOLD_1_8) != HAL_OK)
  {
    Error_Handler();
  }
  if (HAL_UARTEx_DisableFifoMode(&huart1) != HAL_OK)
  {
    Error_Handler();
  }

}

static void MX_GPIO_Init(void)
{
  GPIO_InitTypeDef GPIO_InitStruct = {0};

  /* GPIO Ports Clock Enable */
  __HAL_RCC_GPIOE_CLK_ENABLE();
  __HAL_RCC_GPIOC_CLK_ENABLE();
  __HAL_RCC_GPIOA_CLK_ENABLE();
  __HAL_RCC_GPIOB_CLK_ENABLE();
  __HAL_RCC_GPIOD_CLK_ENABLE();
  __HAL_RCC_GPIOH_CLK_ENABLE();
  __HAL_RCC_GPIOI_CLK_ENABLE();
  __HAL_RCC_GPIOJ_CLK_ENABLE();
  __HAL_RCC_GPIOF_CLK_ENABLE();
  __HAL_RCC_GPIOG_CLK_ENABLE();

  /*Configure GPIO pin Output Level */
  HAL_GPIO_WritePin(GPIOE, LED_GREEN_Pin|LED_RED_Pin|UCPD_DBn_Pin|TOF_LPN_Pin, GPIO_PIN_RESET);

  /*Configure GPIO pin Output Level */
  HAL_GPIO_WritePin(DSI_RESETn_GPIO_Port, DSI_RESETn_Pin, GPIO_PIN_RESET);

  /*Configure GPIO pin Output Level */
  HAL_GPIO_WritePin(eMMC_RSTn_GPIO_Port, eMMC_RSTn_Pin, GPIO_PIN_RESET);

  /*Configure GPIO pin Output Level */
  HAL_GPIO_WritePin(DSI_BL_CTRL_GPIO_Port, DSI_BL_CTRL_Pin, GPIO_PIN_RESET);

  /*Configure GPIO pins : LED_GREEN_Pin LED_RED_Pin UCPD_DBn_Pin TOF_LPN_Pin */
  GPIO_InitStruct.Pin = LED_GREEN_Pin|LED_RED_Pin|UCPD_DBn_Pin|TOF_LPN_Pin;
  GPIO_InitStruct.Mode = GPIO_MODE_OUTPUT_PP;
  GPIO_InitStruct.Pull = GPIO_NOPULL;
  GPIO_InitStruct.Speed = GPIO_SPEED_FREQ_LOW;
  HAL_GPIO_Init(GPIOE, &GPIO_InitStruct);

  /*Configure GPIO pins : PC10 PC8 PC11 PC7
                           PC12 PC9 PC6 */
  GPIO_InitStruct.Pin = GPIO_PIN_10|GPIO_PIN_8|GPIO_PIN_11|GPIO_PIN_7
                          |GPIO_PIN_12|GPIO_PIN_9|GPIO_PIN_6;
  GPIO_InitStruct.Mode = GPIO_MODE_AF_PP;
  GPIO_InitStruct.Pull = GPIO_NOPULL;
  GPIO_InitStruct.Speed = GPIO_SPEED_FREQ_HIGH;
  GPIO_InitStruct.Alternate = GPIO_AF12_SDMMC1;
  HAL_GPIO_Init(GPIOC, &GPIO_InitStruct);

  /*Configure GPIO pin : TOF_INTN_Pin */
  GPIO_InitStruct.Pin = TOF_INTN_Pin;
  GPIO_InitStruct.Mode = GPIO_MODE_IT_RISING;
  GPIO_InitStruct.Pull = GPIO_NOPULL;
  HAL_GPIO_Init(TOF_INTN_GPIO_Port, &GPIO_InitStruct);

  /*Configure GPIO pin : DSI_RESETn_Pin */
  GPIO_InitStruct.Pin = DSI_RESETn_Pin;
  GPIO_InitStruct.Mode = GPIO_MODE_OUTPUT_PP;
  GPIO_InitStruct.Pull = GPIO_NOPULL;
  GPIO_InitStruct.Speed = GPIO_SPEED_FREQ_LOW;
  HAL_GPIO_Init(DSI_RESETn_GPIO_Port, &GPIO_InitStruct);

  /*Configure GPIO pin : PD2 */
  GPIO_InitStruct.Pin = GPIO_PIN_2;
  GPIO_InitStruct.Mode = GPIO_MODE_AF_PP;
  GPIO_InitStruct.Pull = GPIO_NOPULL;
  GPIO_InitStruct.Speed = GPIO_SPEED_FREQ_HIGH;
  GPIO_InitStruct.Alternate = GPIO_AF12_SDMMC1;
  HAL_GPIO_Init(GPIOD, &GPIO_InitStruct);

  /*Configure GPIO pin : PA12 */
  GPIO_InitStruct.Pin = GPIO_PIN_12;
  GPIO_InitStruct.Mode = GPIO_MODE_AF_PP;
  GPIO_InitStruct.Pull = GPIO_NOPULL;
  GPIO_InitStruct.Speed = GPIO_SPEED_FREQ_LOW;
  HAL_GPIO_Init(GPIOA, &GPIO_InitStruct);

  /*Configure GPIO pins : PB9 PB8 */
  GPIO_InitStruct.Pin = GPIO_PIN_9|GPIO_PIN_8;
  GPIO_InitStruct.Mode = GPIO_MODE_AF_PP;
  GPIO_InitStruct.Pull = GPIO_NOPULL;
  GPIO_InitStruct.Speed = GPIO_SPEED_FREQ_HIGH;
  GPIO_InitStruct.Alternate = GPIO_AF12_SDMMC1;
  HAL_GPIO_Init(GPIOB, &GPIO_InitStruct);

  /*Configure GPIO pin : eMMC_RSTn_Pin */
  GPIO_InitStruct.Pin = eMMC_RSTn_Pin;
  GPIO_InitStruct.Mode = GPIO_MODE_OUTPUT_PP;
  GPIO_InitStruct.Pull = GPIO_NOPULL;
  GPIO_InitStruct.Speed = GPIO_SPEED_FREQ_LOW;
  HAL_GPIO_Init(eMMC_RSTn_GPIO_Port, &GPIO_InitStruct);

  /*Configure GPIO pin : DSI_BL_CTRL_Pin */
  GPIO_InitStruct.Pin = DSI_BL_CTRL_Pin;
  GPIO_InitStruct.Mode = GPIO_MODE_OUTPUT_PP;
  GPIO_InitStruct.Pull = GPIO_NOPULL;
  GPIO_InitStruct.Speed = GPIO_SPEED_FREQ_LOW;
  HAL_GPIO_Init(DSI_BL_CTRL_GPIO_Port, &GPIO_InitStruct);

  /*Configure GPIO pin : USER_Button_Pin */
  GPIO_InitStruct.Pin = USER_Button_Pin;
  GPIO_InitStruct.Mode = GPIO_MODE_IT_RISING;
  GPIO_InitStruct.Pull = GPIO_NOPULL;
  HAL_GPIO_Init(USER_Button_GPIO_Port, &GPIO_InitStruct);

  /*Configure GPIO pin : TEMP_INTN_Pin */
  GPIO_InitStruct.Pin = TEMP_INTN_Pin;
  GPIO_InitStruct.Mode = GPIO_MODE_IT_RISING;
  GPIO_InitStruct.Pull = GPIO_NOPULL;
  HAL_GPIO_Init(TEMP_INTN_GPIO_Port, &GPIO_InitStruct);

  /*Configure GPIO pin : PF10 */
  GPIO_InitStruct.Pin = GPIO_PIN_10;
  GPIO_InitStruct.Mode = GPIO_MODE_AF_PP;
  GPIO_InitStruct.Pull = GPIO_NOPULL;
  GPIO_InitStruct.Speed = GPIO_SPEED_FREQ_VERY_HIGH;
  GPIO_InitStruct.Alternate = GPIO_AF3_OCTOSPI1;
  HAL_GPIO_Init(GPIOF, &GPIO_InitStruct);

  /*Configure GPIO pins : PF7 PF9 PF6 PF8 */
  GPIO_InitStruct.Pin = GPIO_PIN_7|GPIO_PIN_9|GPIO_PIN_6|GPIO_PIN_8;
  GPIO_InitStruct.Mode = GPIO_MODE_AF_PP;
  GPIO_InitStruct.Pull = GPIO_NOPULL;
  GPIO_InitStruct.Speed = GPIO_SPEED_FREQ_VERY_HIGH;
  GPIO_InitStruct.Alternate = GPIO_AF10_OCTOSPI1;
  HAL_GPIO_Init(GPIOF, &GPIO_InitStruct);

  /*Configure GPIO pins : PC1 PC3 PC2 */
  GPIO_InitStruct.Pin = GPIO_PIN_1|GPIO_PIN_3|GPIO_PIN_2;
  GPIO_InitStruct.Mode = GPIO_MODE_AF_PP;
  GPIO_InitStruct.Pull = GPIO_NOPULL;
  GPIO_InitStruct.Speed = GPIO_SPEED_FREQ_VERY_HIGH;
  GPIO_InitStruct.Alternate = GPIO_AF10_OCTOSPI1;
  HAL_GPIO_Init(GPIOC, &GPIO_InitStruct);

  /*Configure GPIO pins : PA2 PA1 */
  GPIO_InitStruct.Pin = GPIO_PIN_2|GPIO_PIN_1;
  GPIO_InitStruct.Mode = GPIO_MODE_AF_PP;
  GPIO_InitStruct.Pull = GPIO_NOPULL;
  GPIO_InitStruct.Speed = GPIO_SPEED_FREQ_VERY_HIGH;
  GPIO_InitStruct.Alternate = GPIO_AF10_OCTOSPI1;
  HAL_GPIO_Init(GPIOA, &GPIO_InitStruct);

  /*Configure GPIO pins : DSI_TOUCH_INT_Pin UCPD_FLT_Pin */
  GPIO_InitStruct.Pin = DSI_TOUCH_INT_Pin|UCPD_FLT_Pin;
  GPIO_InitStruct.Mode = GPIO_MODE_IT_RISING;
  GPIO_InitStruct.Pull = GPIO_NOPULL;
  HAL_GPIO_Init(GPIOE, &GPIO_InitStruct);

  /*Configure GPIO pin : PC0 */
  GPIO_InitStruct.Pin = GPIO_PIN_0;
  GPIO_InitStruct.Mode = GPIO_MODE_AF_PP;
  GPIO_InitStruct.Pull = GPIO_NOPULL;
  GPIO_InitStruct.Speed = GPIO_SPEED_FREQ_VERY_HIGH;
  GPIO_InitStruct.Alternate = GPIO_AF3_OCTOSPI1;
  HAL_GPIO_Init(GPIOC, &GPIO_InitStruct);

}

void Error_Handler(void)
{
  __disable_irq();
  while (1)
  {
  }
}
